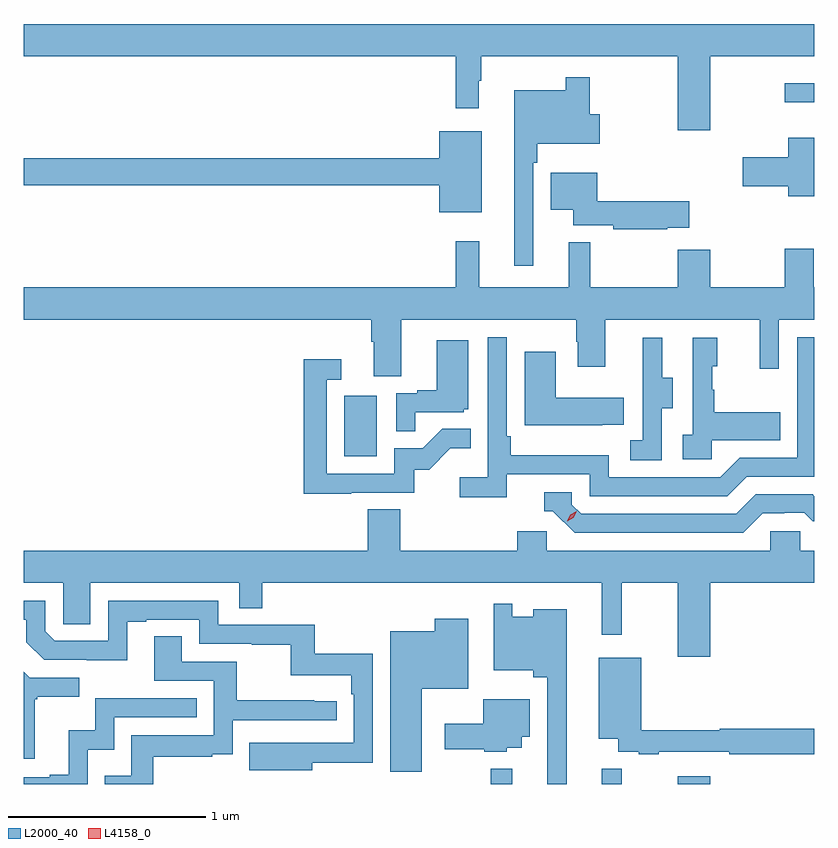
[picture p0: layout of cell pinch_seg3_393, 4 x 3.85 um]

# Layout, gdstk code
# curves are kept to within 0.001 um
import gdstk
lib = gdstk.Library(unit=1e-6, precision=1e-09)
def R(c, l, rs):  # rectangles x0, y0, x1, y1
    for r in rs: c.add(gdstk.rectangle(r[:2], r[2:], *l))
def P(c, l, *ps):  # polygons
    for p in ps: c.add(gdstk.Polygon(p, *l))
L2000_40 = (2000, 40)
L4158_0 = (4158, 0)

pinch_seg3_393 = lib.new_cell('pinch_seg3_393')
R(pinch_seg3_393, L2000_40, [(943.281,689.243,943.391,689.32), (943.844,689.243,943.946,689.321), (944.228,689.243,944.392,689.281), (942.542,690.9,942.706,691.207), (944.769,692.691,944.919,692.788)])
P(pinch_seg3_393, L2000_40, [(944.392,692.924),(944.919,692.924),(944.919,693.088),(940.919,693.088),(940.919,692.924),(943.105,692.924),(943.105,692.661),(943.222,692.661),(943.222,692.801),(943.234,692.801),(943.234,692.924),(944.228,692.924),(944.228,692.55),(944.392,692.55)],
  [(943.497,692.387),(943.517,692.387),(943.517,692.483),(943.834,692.483),(943.834,692.631),(943.783,692.631),(943.783,692.818),(943.662,692.818),(943.662,692.752),(943.4,692.752),(943.4,691.866),(943.497,691.866)],
  [(943.237,692.545),(943.022,692.545),(943.022,692.408),(940.919,692.408),(940.919,692.272),(943.022,692.272),(943.022,692.135),(943.237,692.135)],
  [(944.919,692.512),(944.786,692.512),(944.786,692.414),(944.556,692.414),(944.556,692.267),(944.786,692.267),(944.786,692.216),(944.919,692.216)],
  [(944.174,692.057),(944.287,692.057),(944.287,692.192),(943.822,692.192),(943.822,692.335),(943.586,692.335),(943.586,692.147),(943.7,692.147),(943.7,692.069),(943.902,692.069),(943.902,692.05),(944.174,692.05)],
  [(942.829,691.592),(943.714,691.592),(943.714,691.481),(943.721,691.481),(943.721,691.353),(943.861,691.353),(943.861,691.592),(944.642,691.592),(944.642,691.344),(944.739,691.344),(944.739,691.592),(944.919,691.592),(944.919,691.756),(944.917,691.756),(944.917,691.951),(944.77,691.951),(944.77,691.756),(944.392,691.756),(944.392,691.945),(944.228,691.945),(944.228,691.756),(943.786,691.756),(943.786,691.984),(943.676,691.984),(943.676,691.756),(943.223,691.756),(943.223,691.99),(943.105,691.99),(943.105,691.756),(940.919,691.756),(940.919,691.592),(942.677,691.592),(942.677,691.48),(942.689,691.48),(942.689,691.306),(942.829,691.306)],
  [(943.364,690.81),(943.782,690.81),(943.782,690.699),(944.479,690.699),(944.578,690.798),(944.919,690.798),(944.919,691.503),(944.832,691.503),(944.832,690.894),(944.541,690.894),(944.442,690.795),(943.878,690.795),(943.878,690.907),(943.382,690.907),(943.382,691.003),(943.362,691.003),(943.362,691.504),(943.266,691.504),(943.266,690.796),(943.125,690.796),(943.125,690.694),(943.364,690.694)],
  [(944.148,691.144),(944.203,691.144),(944.203,691.299),(944.149,691.299),(944.149,691.501),(944.051,691.501),(944.051,691.287),(944.052,691.287),(944.052,690.983),(943.989,690.983),(943.989,690.88),(944.148,690.88)],
  [(944.4,690.983),(944.747,690.983),(944.747,691.123),(944.413,691.123),(944.413,691.238),(944.403,691.238),(944.403,691.356),(944.428,691.356),(944.428,691.501),(944.304,691.501),(944.304,691.01),(944.253,691.01),(944.253,690.885),(944.4,690.885)],
  [(942.899,691.125),(943.146,691.125),(943.146,691.14),(943.168,691.14),(943.168,691.489),(943.01,691.489),(943.01,691.234),(942.911,691.234),(942.911,691.221),(942.804,691.221),(942.804,691.027),(942.899,691.027)],
  [(943.847,691.061),(943.955,691.061),(943.955,691.198),(943.612,691.198),(943.612,691.429),(943.454,691.429),(943.454,691.058),(943.847,691.058)],
  [(942.575,690.717),(942.894,690.717),(942.894,690.834),(942.97,690.834),(943.077,690.941),(943.181,690.941),(943.181,691.04),(943.037,691.04),(942.939,690.942),(942.795,690.942),(942.795,690.813),(942.453,690.813),(942.453,691.287),(942.526,691.287),(942.526,691.393),(942.337,691.393),(942.337,690.712),(942.575,690.712)],
  [(944.659,690.612),(944.766,690.612),(944.766,690.615),(944.869,690.615),(944.911,690.573),(944.919,690.573),(944.919,690.7),(944.911,690.708),(944.622,690.708),(944.523,690.609),(943.74,690.609),(943.692,690.657),(943.692,690.72),(943.553,690.72),(943.553,690.624),(943.596,690.624),(943.707,690.513),(944.56,690.513)],
  [(940.919,690.26),(941.118,690.26),(941.118,690.052),(941.257,690.052),(941.257,690.26),(942.009,690.26),(942.009,690.133),(942.125,690.133),(942.125,690.26),(943.844,690.26),(943.844,689.997),(943.946,689.997),(943.946,690.26),(944.228,690.26),(944.228,689.886),(944.392,689.886),(944.392,690.26),(944.919,690.26),(944.919,690.424),(944.847,690.424),(944.847,690.522),(944.697,690.522),(944.697,690.424),(943.566,690.424),(943.566,690.522),(943.415,690.522),(943.415,690.424),(942.824,690.424),(942.824,690.632),(942.659,690.632),(942.659,690.424),(940.919,690.424)],
  [(942.379,689.35),(942.684,689.35),(942.684,689.902),(942.391,689.902),(942.391,690.048),(941.904,690.048),(941.904,690.171),(941.346,690.171),(941.346,689.967),(941.076,689.967),(941.028,690.015),(941.028,690.171),(940.919,690.171),(940.919,690.075),(940.932,690.075),(940.932,689.961),(941.022,689.871),(941.443,689.87),(941.443,690.063),(941.539,690.063),(941.539,690.075),(941.808,690.075),(941.808,689.952),(942.073,689.952),(942.073,689.947),(942.27,689.947),(942.27,689.792),(942.575,689.792),(942.575,689.696),(942.588,689.696),(942.588,689.451),(942.061,689.452),(942.061,689.312),(942.379,689.312)],
  [(943.666,690.127),(943.496,690.127),(943.496,690.088),(943.392,690.088),(943.392,690.154),(943.296,690.154),(943.296,689.819),(943.496,689.819),(943.496,689.783),(943.569,689.783),(943.569,689.243),(943.666,689.243)],
  [(942.934,689.726),(943.168,689.726),(943.168,690.079),(942.998,690.079),(942.998,690.016),(942.773,690.016),(942.773,689.304),(942.934,689.304)],
  [(941.575,689.382),(941.873,689.382),(941.873,689.393),(941.976,689.393),(941.976,689.565),(942.502,689.565),(942.502,689.661),(942.389,689.661),(942.389,689.666),(941.996,689.666),(941.996,689.862),(941.719,689.862),(941.719,689.99),(941.579,689.99),(941.579,689.766),(941.88,689.766),(941.88,689.49),(941.464,689.49),(941.464,689.284),(941.329,689.284),(941.329,689.243),(941.575,689.243)],
  [(944.132,689.406),(944.488,689.406),(944.488,689.394),(944.919,689.394),(944.919,689.522),(944.44,689.522),(944.44,689.515),(944.044,689.515),(944.044,689.881),(943.829,689.881),(943.829,689.471),(943.928,689.471),(943.928,689.406),(944.032,689.406),(944.032,689.394),(944.132,689.394)],
  [(940.975,689.673),(940.987,689.673),(940.987,689.684),(941.2,689.684),(941.2,689.781),(940.95,689.781),(940.919,689.812),(940.919,689.37),(940.975,689.37)],
  [(941.244,689.417),(941.376,689.417),(941.376,689.58),(941.795,689.58),(941.795,689.676),(941.28,689.676),(941.28,689.515),(941.147,689.515),(941.147,689.29),(941.051,689.29),(941.051,689.277),(940.919,689.277),(940.919,689.243),(941.244,689.243)],
  [(943.362,689.426),(943.438,689.426),(943.438,689.483),(943.48,689.483),(943.48,689.671),(943.244,689.671),(943.244,689.548),(943.05,689.548),(943.05,689.419),(943.248,689.419),(943.248,689.405),(943.362,689.405)])
P(pinch_seg3_393, L4158_0, [(943.668,690.572),(943.668,690.572),(943.685,690.604),(943.716,690.624),(943.716,690.624),(943.716,690.623),(943.699,690.591),(943.668,690.572)])

lib.write_gds('pinch_seg3_393.gds')
